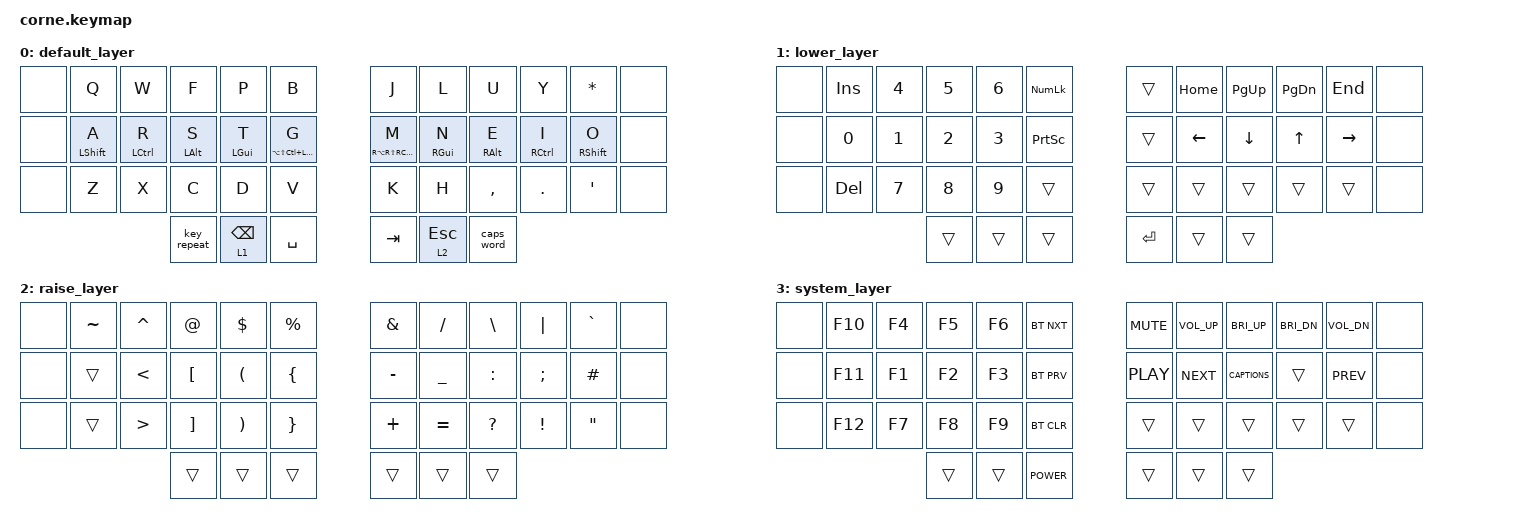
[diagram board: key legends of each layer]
/*
 * Copyright (c) 2020 The ZMK Contributors
 *
 * SPDX-License-Identifier: MIT
 */

/* TEMPLATE
//            -------------------------------------------------							 -------------------------------------------------
//           |         |         |         |         |         |						|         |         |         |         |         |
//            -------------------------------------------------							 -------------------------------------------------
//           |         |         |         |         |         |						|         |         |         |         |         |
//            -------------------------------------------------							 -------------------------------------------------
//           |         |         |         |         |         |						|         |         |         |         |         |
//            ---------------------------------------------------------			 ---------------------------------------------------------
//                                       |         |         |         |		|         |         |         |
//                                        -----------------------------			 -----------------------------
			bindings = <
    &none    &kp       &kp       &kp       &kp       &kp       							&kp       &kp       &kp       &kp       &kp       &none     
    &none    &kp       &kp       &kp       &kp       &kp       							&kp       &kp       &kp       &kp       &kp       &none     
    &none    &trans    &trans    &trans    &trans    &trans    							&trans    &trans    &trans    &trans    &trans    &none    
                                         &kp       &kp       &kp       			&kp       &kp       &kp       
			>;

*/


// TODO Add bluetooth switching
// &bt BT_CLR &bt BT_SEL 0 &bt BT_SEL 1 &bt BT_SEL 2 &bt BT_SEL 3 &bt BT_SEL 4   
#include <behaviors.dtsi>
#include <dt-bindings/zmk/keys.h>
#include <dt-bindings/zmk/bt.h>

/ {
	behaviors {
		mt_: custom_mod_tap {
			compatible = "zmk,behavior-hold-tap";
			label = "MOD_TAP";
			#binding-cells = <2>;
			flavor = "tap-preferred";
			tapping-term-ms = <200>;
			bindings = <&kp>, <&kp>;
		};
		lt_: custom_layer_tap {
			compatible = "zmk,behavior-hold-tap";
			label = "LAYER_TAP";
			#binding-cells = <2>;
			flavor = "balanced";
			tapping-term-ms = <200>;
			bindings = <&mo>, <&kp>;
		};
	};
	conditional_layers {
		compatible = "zmk,conditional-layers";
			tri_layer {
				if-layers = <1 2>;
				then-layer = <3>;
		};
	};
	keymap {
		compatible = "zmk,keymap";

		default_layer {
//            -------------------------------------------------					 -------------------------------------------------
//           |    Q    |    W    |    F    |    P    |    B    |				|    J    |    L    |    U    |    Y    |    *    |
//            -------------------------------------------------					 -------------------------------------------------
//           | A> SHFT | R> CTRL | S> ALT  | T> GUI  | G> HYPR |				| M> HYPR | N> GUI | E> ALT  | I> CTRL  | O> SHFT |
//            -------------------------------------------------					 -------------------------------------------------
//           |    Z    |    X    |    C    |    D    |    V    |				|    K    |    H    |    ,    |    .    |    '    |
//            --------------------------------------------------------- 	 -----------------------------------------------------
//                                      |  REPEAT  | ⌫> NUM  |  SPACE  |	|   TAB   | SYMBOL |  CAPS   |
//                                       ------------------------------ 	 ----------------------------
			bindings = <
    &none     &kp   Q   &kp   W   &kp   F   &kp   P   &kp   B   							&kp   J   &kp   L   &kp   U   &kp   Y   &kp STAR  &none     

    &none &mt_ LSHFT A &mt_ LCTRL R &mt_ LALT S &mt_ LGUI T &mt_ LA(LS(LC(LGUI))) G &mt_ RA(RS(RC(RGUI))) M &mt_ RGUI N &mt_ RALT E &mt_ RCTRL I &mt_ RSHFT O &none     

    &none     &kp   Z   &kp   X   &kp   C   &kp   D   &kp   V   							&kp   K   &kp   H   &kp COMMA &kp  DOT  &kp APOS  &none     

                                       &key_repeat &lt_ 1 BSPC &kp SPACE 		&kp  TAB  &lt_ 2 ESC  &caps_word  
			>;
		};
		lower_layer {
//            -------------------------------------------------							 -------------------------------------------------
//           | INSERT  |    4    |    5    |    6    |  NUM🔒  |						|         |  HOME   | PAGE ↑  | PAGE ↓  |   END   |
//            -------------------------------------------------							 -------------------------------------------------
//           |    0    |    1    |    1    |    2    | PRNTSCR |						|         |    ←    |    ↓    |    ↑    |    →    |
//            -------------------------------------------------							 -------------------------------------------------
//           | DELETE  |    7    |    8    |    9    |         |						|         |         |         |         |         |
//            ---------------------------------------------------------			 ---------------------------------------------------------
//                                       |         |         |         |		|  ENTER  |         |         |
//                                        -----------------------------			 -----------------------------
			bindings = <
    &none     &kp  INS  &kp  N4   &kp  N5   &kp  N6   &kp KP_NUM							&trans    &kp HOME  &kp PG_UP &kp PG_DN &kp  END  &none

    &none     &kp  N0   &kp  N1   &kp  N2   &kp  N3   &kp PSCRN 							&trans    &kp LEFT  &kp DOWN  &kp  UP   &kp RIGHT &none     

    &none     &kp  DEL  &kp  N7   &kp  N8   &kp  N9   &trans    							&trans    &trans    &trans    &trans    &trans    &none     

                                          &trans    &trans    &trans    		&kp  RET  &trans    &trans    
			>;
		};

		raise_layer {
//            -------------------------------------------------							 -----------------------------------------------------------
//           |    ~    |    ^    |    @    |    $    |    %    |						|    &    |    /    |    \    |    |    |    `    |
//            -------------------------------------------------							 -----------------------------------------------------------
//           |         |    <    |    [    |    (    |    {    |						|    -    |    _    |    :    |    ;    |    #    |
//            -------------------------------------------------							 -----------------------------------------------------------
//           |         |    >    |    ]    |    )    |    }    |						|    +    |    =    |    ?    |    !    |    "    |
//            ---------------------------------------------------------			 -------------------------------------------------------------------
//                                       |         |         |         |		|         |         |         |
//                                        -----------------------------			 -----------------------------
			bindings = <
    &none     &kp TILDE &kp CARET &kp  AT   &kp DLLR  &kp PRCNT 						&kp AMPS  &kp SLASH &kp BSLH  &kp PIPE  &kp GRAVE &none     

    &none     &trans    &kp  LT   &kp LBKT  &kp LPAR  &kp LBRC  						&kp MINUS &kp UNDER &kp COLON &kp SEMI  &kp HASH  &none     

    &none     &trans    &kp  GT   &kp RBKT  &kp RPAR  &kp RBRC  						&kp PLUS  &kp EQUAL &kp QMARK &kp EXCL  &kp  DQT  &none     

                                          &trans    &trans    &trans    		&trans    &trans    &trans    
			>;
		};
		system_layer {

//            -------------------------------------------------							 -------------------------------------------------
//           |   F10   |   F4    |   F5    |   F6    | BLE NXT |						|  MUTE   | VOL UP  | BRT UP  | BRT DWN | VOL DWN |
//            -------------------------------------------------							 -------------------------------------------------
//           |   F11   |   F1    |   F2    |   F3    | BLE PRV |						|  PLAY   |  NEXT   |   CC    |         |  PREV   |
//            -------------------------------------------------							 -------------------------------------------------
//           |   F12   |   F7    |   F8    |   F9    | BLE CLR |						|         |         |         |         |         |
//            ---------------------------------------------------------			 ---------------------------------------------------------
//                                       |         |         |  POWER  |		|         |         |         |
//                                        -----------------------------			 -----------------------------
			bindings = <
    &none    &kp  F10  &kp  F4   &kp  F5   &kp  F6   &bt BT_NXT							&kp K_MUTE &kp C_VOL_UP &kp C_BRI_UP   &kp C_BRI_DN &kp C_VOL_DN &none     
    &none    &kp  F11  &kp  F1   &kp  F2   &kp  F3   &bt BT_PRV							&kp C_PLAY &kp C_NEXT   &kp C_CAPTIONS &trans       &kp C_PREV   &none     
    &none    &kp  F12  &kp  F7   &kp  F8   &kp  F9   &bt BT_CLR							&trans     &trans       &trans         &trans       &trans       &none    
                                         &trans     &trans     &kp K_POWER		&trans     &trans      &trans     
			>;
		};
	};
};
